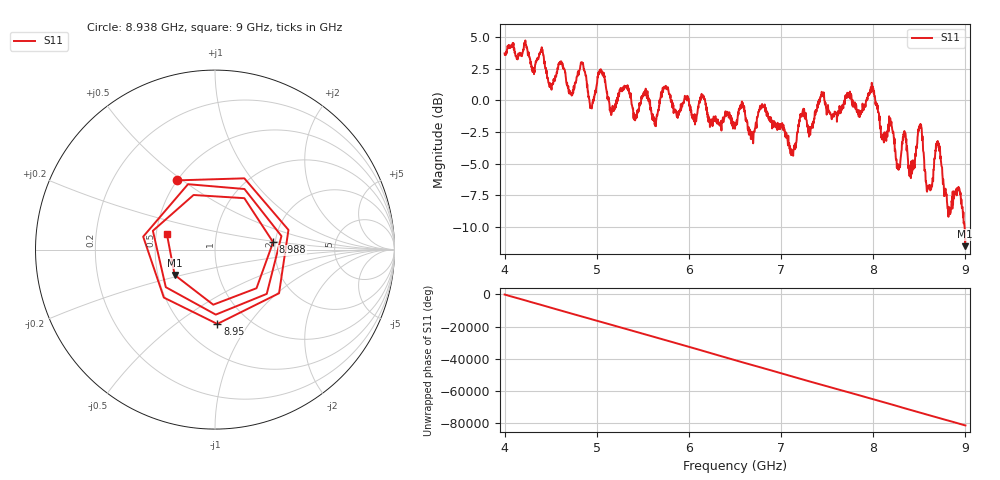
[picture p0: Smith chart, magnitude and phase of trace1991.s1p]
! Created with skrf 1.8.0 (http://scikit-rf.org).
# Hz S RI R 50.0
!freq ReS11 ImS11
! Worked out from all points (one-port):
!   1601 points, 4 GHz to 9 GHz, reference 50 ohm
!   lowest |S11| = -11.5 dB at 8.997 GHz (marker M1), VSWR 1.72, Z = 30.6 - j9.3 ohm
!   |S11| at or under -10 dB: 8.990913 GHz to end of sweep
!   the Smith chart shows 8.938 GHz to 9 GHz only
!   S11 on the Smith chart (normalised r, x): 8.938 GHz: 0.50, +0.48; 8.95 GHz: 0.72, -0.72; 8.988 GHz: 1.95, +0.18; 9 GHz: 0.57, +0.11
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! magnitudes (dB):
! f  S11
! 4 GHz  3.7
! 4.4 GHz  3.9
! 4.503 GHz  1.0
! 4.625 GHz  2.8
! 4.719 GHz  0.5
! 4.847 GHz  2.9
! 4.941 GHz  -0.5
! 5.038 GHz  2.4
! 5.162 GHz  -1.0
! 5.25 GHz  0.8
! 5.875 GHz  -1.1
! 6.5 GHz  -2.2
! 6.8 GHz  -0.5
! 7.125 GHz  -4.3
! 7.231 GHz  -1.1
! 7.75 GHz  0.1
! 7.991 GHz  0.9
! 8.1 GHz  -3.0
! 8.375 GHz  -4.5
! 8.509 GHz  -1.9
! 8.597 GHz  -7.0
! 8.7 GHz  -3.2
! 8.822 GHz  -8.7
! 8.938 GHz  -7.1
! 8.95 GHz  -7.7
! 8.988 GHz  -9.7
! 8.997 GHz  -11.5
! 9 GHz  -11.0
